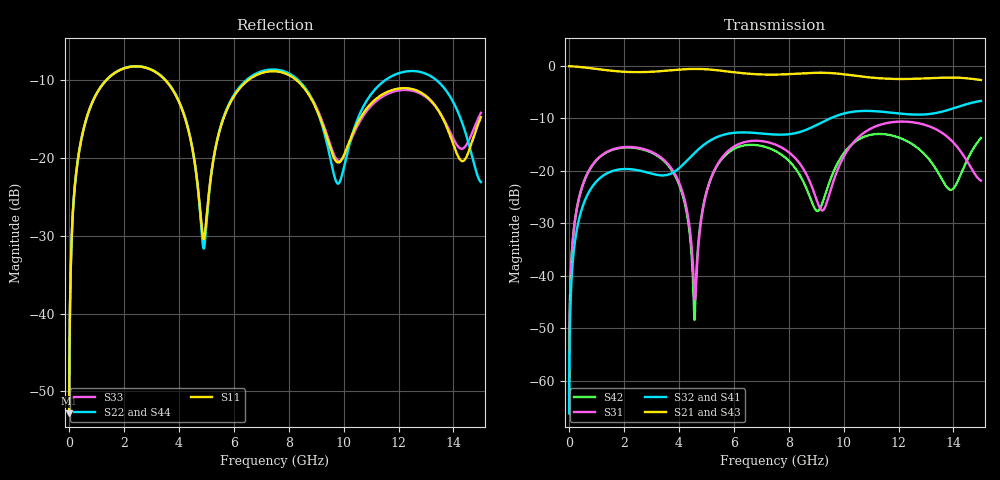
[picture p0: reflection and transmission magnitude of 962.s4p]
! Created with skrf 1.8.0 (http://scikit-rf.org).
# GHz S RI R 50.0
!freq ReS11 ImS11 ReS12 ImS12 ReS13 ImS13
! ReS14 ImS14
! ReS21 ImS21 ReS22 ImS22 ReS23 ImS23
! ReS24 ImS24
! ReS31 ImS31 ReS32 ImS32 ReS33 ImS33
! ReS34 ImS34
! ReS41 ImS41 ReS42 ImS42 ReS43 ImS43
! ReS44 ImS44
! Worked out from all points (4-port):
!   2499 points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, 5 MHz to 15 GHz, reference 50 ohm
!   strongest paths, dB at 5 MHz, 3.476 GHz, 7.19 GHz, 11.1 GHz, 15 GHz:
!     S21: 0.0, -0.9, -1.6, -2.2, -2.7
!     S43: 0.0, -0.9, -1.6, -2.2, -2.7
!     S32: -66.3, -20.8, -12.9, -8.6, -6.6
!     S41: -66.3, -20.9, -13.0, -8.7, -6.6
!     S31: -62.1, -18.0, -14.5, -11.7, -21.8
!     S42: -62.1, -18.2, -15.5, -13.0, -13.7
!   lowest |S11| = -52.8 dB at 5 MHz (marker M1), VSWR 1.00, Z = 50.2 + j0.138 ohm
!   |S11| at or under -10 dB: start of sweep to 1.361 GHz; 3.509 GHz to 6.53 GHz (3.021 GHz wide, 60.2 % of centre); 8.281 GHz to end of sweep
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0.005  0.00182 0.00138  0.9981 -0.00355  9.41e-05 0.000775  -9.1e-05 -0.000478
       0.9981 -0.00355  0.00182 0.00138  -9.1e-05 -0.000478  9.4e-05 0.000775
       9.41e-05 0.000775  -9.1e-05 -0.000478  0.00182 0.00138  0.9981 -0.00355
       -9.1e-05 -0.000478  9.4e-05 0.000775  0.9981 -0.00355  0.00182 0.00138
0.4126719  0.0445 0.1133  0.9377 -0.2843  0.0236 0.0569  -0.019 -0.0337
           0.9377 -0.2843  0.0446 0.1133  -0.019 -0.0337  0.023 0.0571
           0.0236 0.0569  -0.019 -0.0337  0.0445 0.1133  0.9377 -0.2843
           -0.019 -0.0337  0.023 0.0571  0.9377 -0.2843  0.0446 0.1133
1.925802  0.357 0.1033  0.2933 -0.8355  0.1668 0.0187  -0.0965 0.0379
          0.2933 -0.8355  0.3583 0.1015  -0.0966 0.0383  0.1639 0.0268
          0.1668 0.0187  -0.0966 0.0383  0.3568 0.1035  0.2933 -0.8355
          -0.0965 0.0379  0.1639 0.0268  0.2933 -0.8355  0.3584 0.1013
4.570654  0.0472 -0.0832  -0.896 -0.284  -0.00589 -0.00299  -0.0414 0.1421
          -0.896 -0.284  0.0432 -0.085  -0.0391 0.1428  -0.00376 -0.000496
          -0.00589 -0.00299  -0.0391 0.1428  0.047 -0.0823  -0.8962 -0.2836
          -0.0414 0.1421  -0.00376 -0.000496  -0.8962 -0.2836  0.0429 -0.0842
5.702376  0.1284 0.1463  -0.8045 0.3871  0.1145 0.0917  0.1245 0.1853
          -0.8045 0.3871  0.129 0.1499  0.1276 0.1839  0.0996 0.1008
          0.1145 0.0917  0.1276 0.1839  0.1285 0.1478  -0.8039 0.3875
          0.1245 0.1853  0.0996 0.1008  -0.8039 0.3875  0.1308 0.1516
9.891622  0.0953 0.00474  0.8355 0.1066  0.0185 0.118  0.0387 -0.3434
          0.8355 0.1066  0.071 0.0139  0.0285 -0.3444  -0.0169 0.1316
          0.0185 0.118  0.0285 -0.3444  0.0962 -0.00196  0.8352 0.1089
          0.0387 -0.3434  -0.0169 0.1316  0.8352 0.1089  0.0713 0.00961
15  0.142 0.1145  -0.7299 -0.0958  -0.0598 0.0544  -0.0582 0.4632
    -0.7299 -0.0958  0.0669 -0.0203  -0.0339 0.4641  0.1297 0.1602
    -0.0598 0.0544  -0.0339 0.4641  0.1605 0.1101  -0.7288 -0.0983
    -0.0582 0.4632  0.1297 0.1602  -0.7288 -0.0983  0.0555 -0.0221
